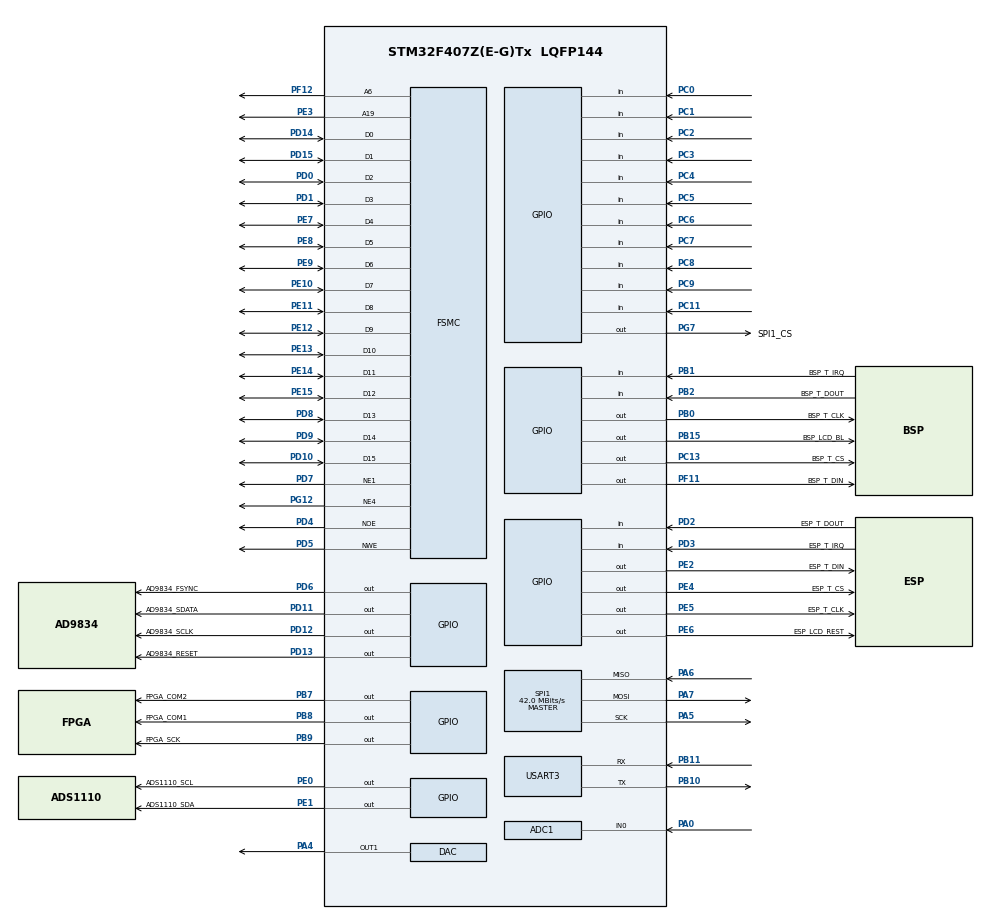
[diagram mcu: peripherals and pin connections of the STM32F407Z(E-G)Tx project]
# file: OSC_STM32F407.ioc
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ADC1.Channel-4\#ChannelRegularConversion=ADC_CHANNEL_0
ADC1.NbrOfConversionFlag=1
ADC1.Rank-4\#ChannelRegularConversion=1
ADC1.SamplingTime-4\#ChannelRegularConversion=ADC_SAMPLETIME_3CYCLES
ADC1.master=1
Dma.Request0=SPI1_RX
Dma.Request1=SPI1_TX
Dma.Request2=USART3_RX
Dma.Request3=USART3_TX
Dma.SPI1_RX.0.Direction=DMA_PERIPH_TO_MEMORY
Dma.SPI1_RX.0.FIFOMode=DMA_FIFOMODE_DISABLE
Dma.SPI1_RX.0.Instance=DMA2_Stream0
Dma.SPI1_RX.0.MemDataAlignment=DMA_MDATAALIGN_BYTE
Dma.SPI1_RX.0.MemInc=DMA_MINC_ENABLE
Dma.SPI1_RX.0.Mode=DMA_NORMAL
Dma.SPI1_RX.0.PeriphDataAlignment=DMA_PDATAALIGN_BYTE
Dma.SPI1_RX.0.PeriphInc=DMA_PINC_DISABLE
Dma.SPI1_RX.0.Priority=DMA_PRIORITY_LOW
Dma.SPI1_TX.1.Direction=DMA_MEMORY_TO_PERIPH
Dma.SPI1_TX.1.FIFOMode=DMA_FIFOMODE_DISABLE
Dma.SPI1_TX.1.Instance=DMA2_Stream3
Dma.SPI1_TX.1.MemDataAlignment=DMA_MDATAALIGN_BYTE
Dma.SPI1_TX.1.MemInc=DMA_MINC_ENABLE
Dma.SPI1_TX.1.Mode=DMA_NORMAL
Dma.SPI1_TX.1.PeriphDataAlignment=DMA_PDATAALIGN_BYTE
Dma.SPI1_TX.1.PeriphInc=DMA_PINC_DISABLE
Dma.SPI1_TX.1.Priority=DMA_PRIORITY_LOW
Dma.USART3_RX.2.Direction=DMA_PERIPH_TO_MEMORY
Dma.USART3_RX.2.FIFOMode=DMA_FIFOMODE_DISABLE
Dma.USART3_RX.2.Instance=DMA1_Stream1
Dma.USART3_RX.2.MemDataAlignment=DMA_MDATAALIGN_BYTE
Dma.USART3_RX.2.MemInc=DMA_MINC_ENABLE
Dma.USART3_RX.2.Mode=DMA_NORMAL
Dma.USART3_RX.2.PeriphDataAlignment=DMA_PDATAALIGN_BYTE
Dma.USART3_RX.2.PeriphInc=DMA_PINC_DISABLE
Dma.USART3_RX.2.Priority=DMA_PRIORITY_LOW
Dma.USART3_TX.3.Direction=DMA_MEMORY_TO_PERIPH
Dma.USART3_TX.3.FIFOMode=DMA_FIFOMODE_DISABLE
Dma.USART3_TX.3.Instance=DMA1_Stream3
Dma.USART3_TX.3.MemDataAlignment=DMA_MDATAALIGN_BYTE
Dma.USART3_TX.3.MemInc=DMA_MINC_ENABLE
Dma.USART3_TX.3.Mode=DMA_NORMAL
Dma.USART3_TX.3.PeriphDataAlignment=DMA_PDATAALIGN_BYTE
Dma.USART3_TX.3.PeriphInc=DMA_PINC_DISABLE
Dma.USART3_TX.3.Priority=DMA_PRIORITY_LOW
FSMC.AddressSetupTime1=15
FSMC.BusTurnAroundDuration1=0
FSMC.DataSetupTime1=80
Mcu.Family=STM32F4
Mcu.Name=STM32F407Z(E-G)Tx
Mcu.Package=LQFP144
NVIC.DMA1_Stream1_IRQn=true\:0\:0\:false\:false\:true
NVIC.DMA1_Stream3_IRQn=true\:0\:0\:false\:false\:true
NVIC.DMA2_Stream0_IRQn=true\:0\:0\:false\:false\:true
NVIC.DMA2_Stream3_IRQn=true\:0\:0\:false\:false\:true
NVIC.PriorityGroup=NVIC_PRIORITYGROUP_4
PA0-WKUP.Signal=ADCx_IN0
PA4.Signal=COMP_DAC1_group
PA5.Mode=Full_Duplex_Master
PA5.Signal=SPI1_SCK
PA6.Mode=Full_Duplex_Master
PA6.Signal=SPI1_MISO
PA7.Mode=Full_Duplex_Master
PA7.Signal=SPI1_MOSI
PB0.GPIO_Label=BSP_T_CLK
PB0.GPIO_Speed=GPIO_SPEED_FREQ_VERY_HIGH
PB0.Signal=GPIO_Output
PB1.GPIO_Label=BSP_T_IRQ
PB1.GPIO_PuPd=GPIO_PULLUP
PB1.Signal=GPIO_Input
PB10.Mode=Asynchronous
PB10.Signal=USART3_TX
PB11.Mode=Asynchronous
PB11.Signal=USART3_RX
PB15.GPIO_Label=BSP_LCD_BL
PB15.GPIO_Speed=GPIO_SPEED_FREQ_VERY_HIGH
PB15.Signal=GPIO_Output
PB2.GPIO_Label=BSP_T_DOUT
PB2.GPIO_PuPd=GPIO_PULLUP
PB2.Signal=GPIO_Input
PB7.GPIO_Label=FPGA_COM2
PB7.GPIO_Speed=GPIO_SPEED_FREQ_VERY_HIGH
PB7.Signal=GPIO_Output
PB8.GPIO_Label=FPGA_COM1
PB8.GPIO_Speed=GPIO_SPEED_FREQ_VERY_HIGH
PB8.Signal=GPIO_Output
PB9.GPIO_Label=FPGA_SCK
PB9.GPIO_Speed=GPIO_SPEED_FREQ_VERY_HIGH
PB9.Signal=GPIO_Output
PC0.Signal=GPIO_Input
PC1.Signal=GPIO_Input
PC11.Signal=GPIO_Input
PC13-ANTI_TAMP.GPIO_Label=BSP_T_CS
PC13-ANTI_TAMP.Signal=GPIO_Output
PC2.Signal=GPIO_Input
PC3.Signal=GPIO_Input
PC4.Signal=GPIO_Input
PC5.Signal=GPIO_Input
PC6.Signal=GPIO_Input
PC7.Signal=GPIO_Input
PC8.Signal=GPIO_Input
PC9.Signal=GPIO_Input
PD0.Signal=FSMC_D2_DA2
PD1.Signal=FSMC_D3_DA3
PD10.Signal=FSMC_D15_DA15
PD11.GPIO_Label=AD9834_SDATA 
PD11.GPIO_Speed=GPIO_SPEED_FREQ_VERY_HIGH
PD11.Signal=GPIO_Output
PD12.GPIO_Label=AD9834_SCLK 
PD12.GPIO_Speed=GPIO_SPEED_FREQ_VERY_HIGH
PD12.Signal=GPIO_Output
PD13.GPIO_Label=AD9834_RESET 
PD13.GPIO_Speed=GPIO_SPEED_FREQ_VERY_HIGH
PD13.Signal=GPIO_Output
PD14.Signal=FSMC_D0_DA0
PD15.Signal=FSMC_D1_DA1
PD2.GPIO_Label=ESP_T_DOUT 
PD2.GPIO_PuPd=GPIO_PULLUP
PD2.Signal=GPIO_Input
PD3.GPIO_Label=ESP_T_IRQ 
PD3.GPIO_PuPd=GPIO_PULLUP
PD3.Signal=GPIO_Input
PD4.Signal=FSMC_NOE
PD5.Signal=FSMC_NWE
PD6.GPIO_Label=AD9834_FSYNC
PD6.GPIO_Speed=GPIO_SPEED_FREQ_VERY_HIGH
PD6.Signal=GPIO_Output
PD7.Mode=NorPsramChipSelect1_1
PD7.Signal=FSMC_NE1
PD8.Signal=FSMC_D13_DA13
PD9.Signal=FSMC_D14_DA14
PE0.GPIO_Label=ADS1110_SCL
PE0.GPIO_ModeDefaultOutputPP=GPIO_MODE_OUTPUT_OD
PE0.GPIO_PuPd=GPIO_NOPULL
PE0.GPIO_Speed=GPIO_SPEED_FREQ_VERY_HIGH
PE0.PinState=GPIO_PIN_SET
PE0.Signal=GPIO_Output
PE1.GPIO_Label=ADS1110_SDA
PE1.GPIO_ModeDefaultOutputPP=GPIO_MODE_OUTPUT_OD
PE1.GPIO_PuPd=GPIO_NOPULL
PE1.GPIO_Speed=GPIO_SPEED_FREQ_VERY_HIGH
PE1.PinState=GPIO_PIN_SET
PE1.Signal=GPIO_Output
PE10.Signal=FSMC_D7_DA7
PE11.Signal=FSMC_D8_DA8
PE12.Signal=FSMC_D9_DA9
PE13.Signal=FSMC_D10_DA10
PE14.Signal=FSMC_D11_DA11
PE15.Signal=FSMC_D12_DA12
PE2.GPIO_Label=ESP_T_DIN 
PE2.GPIO_Speed=GPIO_SPEED_FREQ_VERY_HIGH
PE2.Signal=GPIO_Output
PE3.Signal=FSMC_A19
PE4.GPIO_Label=ESP_T_CS 
PE4.GPIO_Speed=GPIO_SPEED_FREQ_VERY_HIGH
PE4.Signal=GPIO_Output
PE5.GPIO_Label=ESP_T_CLK 
PE5.GPIO_Speed=GPIO_SPEED_FREQ_VERY_HIGH
PE5.Signal=GPIO_Output
PE6.GPIO_Label=ESP_LCD_REST 
PE6.GPIO_Speed=GPIO_SPEED_FREQ_VERY_HIGH
PE6.Signal=GPIO_Output
PE7.Signal=FSMC_D4_DA4
PE8.Signal=FSMC_D5_DA5
PE9.Signal=FSMC_D6_DA6
PF11.GPIO_Label=BSP_T_DIN
PF11.GPIO_Speed=GPIO_SPEED_FREQ_VERY_HIGH
PF11.Signal=GPIO_Output
PF12.Signal=FSMC_A6
PG12.Mode=NorPsramChipSelect4_4
PG12.Signal=FSMC_NE4
PG7.GPIO_Label=SPI1_CS
PG7.GPIO_Speed=GPIO_SPEED_FREQ_VERY_HIGH
PG7.Signal=GPIO_Output
PH0-OSC_IN.Mode=HSE-External-Oscillator
PH0-OSC_IN.Signal=RCC_OSC_IN
PH1-OSC_OUT.Mode=HSE-External-Oscillator
PH1-OSC_OUT.Signal=RCC_OSC_OUT
ProjectManager.HeapSize=0x1000
ProjectManager.StackSize=0x4000
ProjectManager.TargetToolchain=MDK-ARM V5
RCC.48MHZClocksFreq_Value=84000000
RCC.AHBFreq_Value=168000000
RCC.APB1CLKDivider=RCC_HCLK_DIV4
RCC.APB1Freq_Value=42000000
RCC.APB1TimFreq_Value=84000000
RCC.APB2CLKDivider=RCC_HCLK_DIV2
RCC.APB2Freq_Value=84000000
RCC.APB2TimFreq_Value=168000000
RCC.CortexFreq_Value=168000000
RCC.HCLKFreq_Value=168000000
RCC.HSE_VALUE=8000000
RCC.HSI_VALUE=16000000
RCC.LSE_VALUE=32768
RCC.PLLM=8
RCC.PLLN=168
RCC.SYSCLKFreq_VALUE=168000000
RCC.SYSCLKSource=RCC_SYSCLKSOURCE_PLLCLK
RCC.VCOOutputFreq_Value=336000000
SH.ADCx_IN0.0=ADC1_IN0,IN0
SH.COMP_DAC1_group.0=DAC_OUT1,DAC_OUT1
SH.FSMC_A19.0=FSMC_A19,A19_1
SH.FSMC_A6.0=FSMC_A6,A6_4
SH.FSMC_D0_DA0.0=FSMC_D0,16b-d1
SH.FSMC_D0_DA0.1=FSMC_D0,16b-d4
SH.FSMC_D10_DA10.0=FSMC_D10,16b-d1
SH.FSMC_D10_DA10.1=FSMC_D10,16b-d4
SH.FSMC_D11_DA11.0=FSMC_D11,16b-d1
SH.FSMC_D11_DA11.1=FSMC_D11,16b-d4
SH.FSMC_D12_DA12.0=FSMC_D12,16b-d1
SH.FSMC_D12_DA12.1=FSMC_D12,16b-d4
SH.FSMC_D13_DA13.0=FSMC_D13,16b-d1
SH.FSMC_D13_DA13.1=FSMC_D13,16b-d4
SH.FSMC_D14_DA14.0=FSMC_D14,16b-d1
SH.FSMC_D14_DA14.1=FSMC_D14,16b-d4
SH.FSMC_D15_DA15.0=FSMC_D15,16b-d1
SH.FSMC_D15_DA15.1=FSMC_D15,16b-d4
SH.FSMC_D1_DA1.0=FSMC_D1,16b-d1
SH.FSMC_D1_DA1.1=FSMC_D1,16b-d4
SH.FSMC_D2_DA2.0=FSMC_D2,16b-d1
SH.FSMC_D2_DA2.1=FSMC_D2,16b-d4
SH.FSMC_D3_DA3.0=FSMC_D3,16b-d1
SH.FSMC_D3_DA3.1=FSMC_D3,16b-d4
SH.FSMC_D4_DA4.0=FSMC_D4,16b-d1
SH.FSMC_D4_DA4.1=FSMC_D4,16b-d4
SH.FSMC_D5_DA5.0=FSMC_D5,16b-d1
SH.FSMC_D5_DA5.1=FSMC_D5,16b-d4
SH.FSMC_D6_DA6.0=FSMC_D6,16b-d1
SH.FSMC_D6_DA6.1=FSMC_D6,16b-d4
SH.FSMC_D7_DA7.0=FSMC_D7,16b-d1
SH.FSMC_D7_DA7.1=FSMC_D7,16b-d4
SH.FSMC_D8_DA8.0=FSMC_D8,16b-d1
SH.FSMC_D8_DA8.1=FSMC_D8,16b-d4
SH.FSMC_D9_DA9.0=FSMC_D9,16b-d1
SH.FSMC_D9_DA9.1=FSMC_D9,16b-d4
SH.FSMC_NOE.0=FSMC_NOE,Lcd1
SH.FSMC_NOE.1=FSMC_NOE,Lcd4
SH.FSMC_NWE.0=FSMC_NWE,Lcd1
SH.FSMC_NWE.1=FSMC_NWE,Lcd4
SPI1.CalculateBaudRate=42.0 MBits/s
SPI1.Mode=SPI_MODE_MASTER
VP_CRC_VS_CRC.Mode=CRC_Activate
board=OSC_STM32F407

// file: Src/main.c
/**
  ******************************************************************************
  * File Name          : main.c
  * Description        : Main program body
  ******************************************************************************
  *
  * COPYRIGHT(c) 2016 STMicroelectronics
  *
  * Redistribution and use in source and binary forms, with or without modification,
  * are permitted provided that the following conditions are met:
  *   1. Redistributions of source code must retain the above copyright notice,
  *      this list of conditions and the following disclaimer.
  *   2. Redistributions in binary form must reproduce the above copyright notice,
  *      this list of conditions and the following disclaimer in the documentation
  *      and/or other materials provided with the distribution.
  *   3. Neither the name of STMicroelectronics nor the names of its contributors
  *      may be used to endorse or promote products derived from this software
  *      without specific prior written permission.
  *
  * THIS SOFTWARE IS PROVIDED BY THE COPYRIGHT HOLDERS AND CONTRIBUTORS "AS IS"
  * AND ANY EXPRESS OR IMPLIED WARRANTIES, INCLUDING, BUT NOT LIMITED TO, THE
  * IMPLIED WARRANTIES OF MERCHANTABILITY AND FITNESS FOR A PARTICULAR PURPOSE ARE
  * DISCLAIMED. IN NO EVENT SHALL THE COPYRIGHT HOLDER OR CONTRIBUTORS BE LIABLE
  * FOR ANY DIRECT, INDIRECT, INCIDENTAL, SPECIAL, EXEMPLARY, OR CONSEQUENTIAL
  * DAMAGES (INCLUDING, BUT NOT LIMITED TO, PROCUREMENT OF SUBSTITUTE GOODS OR
  * SERVICES; LOSS OF USE, DATA, OR PROFITS; OR BUSINESS INTERRUPTION) HOWEVER
  * CAUSED AND ON ANY THEORY OF LIABILITY, WHETHER IN CONTRACT, STRICT LIABILITY,
  * OR TORT (INCLUDING NEGLIGENCE OR OTHERWISE) ARISING IN ANY WAY OUT OF THE USE
  * OF THIS SOFTWARE, EVEN IF ADVISED OF THE POSSIBILITY OF SUCH DAMAGE.
  *
  ******************************************************************************
  */
#include "stm32f4xx_hal.h"

/* USER CODE BEGIN Includes */
#include "main.h"

/* USER CODE END Includes */

ADC_HandleTypeDef hadc1;

CRC_HandleTypeDef hcrc;

DAC_HandleTypeDef hdac;

SPI_HandleTypeDef hspi1;
DMA_HandleTypeDef hdma_spi1_rx;
DMA_HandleTypeDef hdma_spi1_tx;

UART_HandleTypeDef huart3;
DMA_HandleTypeDef hdma_usart3_rx;
DMA_HandleTypeDef hdma_usart3_tx;

SRAM_HandleTypeDef hsram1;
SRAM_HandleTypeDef hsram4;

/* USER CODE BEGIN PV */

/* Private variables ---------------------------------------------------------*/
UART_TYPE RxBuff[1];
/* Private Struct-------------------------------------------------------*/
WAVE_TYPE WaveArray[TFT_WIDTH ] = {0};//波型数组

FPGAControl_struct g_FPGAPar_A = {500000000};//初始化FPAG器件参数
FPGAControl_struct g_FPGACon_C = {500000000};//初始化FPAG器件参数
FPGAData_struct g_FPGAData = {{0}};
FSM_struct g_FSM = {eFSM_WorkS_Emp, eFSM_WorkS_Emp, eFSM_MainS_Emp, eFSM_MainS_Emp};
OSC_struct g_OSCInfo = {
	eTrg_Mod_Centr,//触发模式
	eSampl_Mod_DMA, //采样模式
	eReslt_rat_0, //时间缩放比例
	1, //幅度缩放比例
	160, //触发点
	65535,//采样数值整型最大值
	0,//采样数值整型最小值
	0,//采样数值浮点型最大值
	0, //采样数值浮点型最小值
	0,//频率
	0,//显示数据从采样数据中的起始
	MEMORYE_DEPTH ,//显示数据从采样数据中的终止
	0, //是否等效采样标识
	eClose,//是否打开测量标识
};
Page_struct g_DispPage = {ePage_Num_1, ePage_Num_2, ePage_Num_2};
GUIControl_struct g_GUICon = {eOpen, eOpen, eClose, eClose, eISEMPTY};
SenseData_struct g_Sense = {0};//传感器数据
DevicePar_struct g_Device = {
	Triangle_Wave ,//波形
	1000000,//频率
	50,//占空比
};
/* Others ---------------------------------------------------------*/
__uIO32 g_DACVal = 0;

/* USER CODE END PV */

void SystemClock_Config (void);
void Error_Handler (void);
static void MX_GPIO_Init (void);
static void MX_DMA_Init (void);
static void MX_FSMC_Init (void);
static void MX_DAC_Init (void);
static void MX_CRC_Init (void);
static void MX_ADC1_Init (void);
static void MX_SPI1_Init (void);
static void MX_USART3_UART_Init (void);

/* USER CODE BEGIN PFP */
/* Private function prototypes -----------------------------------------------*/

/* USER CODE END PFP */

int main (void) {

	/* MCU Configuration----------------------------------------------------------*/

	/* Reset of all peripherals, Initializes the Flash interface and the Systick. */
	HAL_Init();

	/* Configure the system clock */
	SystemClock_Config();

	/* Initialize all configured peripherals */
	MX_GPIO_Init();
	MX_DMA_Init();
	MX_FSMC_Init();
	MX_DAC_Init();
	MX_CRC_Init();
	MX_ADC1_Init();
	MX_SPI1_Init();
	MX_USART3_UART_Init();

	/* USER CODE BEGIN 2 */
	Display_Initial();
	FSM_DeviceInit();
	/* USER CODE END 2 */

	/* Infinite loop */
	while (1) {

		/* USER CODE BEGIN 3 */
		if (g_GUICon.GraphDispState == eOpen) {//停止时不进行任何活动 ，开启时才进入任务
			//FPGA_GetMeasurePar();//请求基础数据

			FPGA_WritePar(10 * g_FPGAData.SignalFreq, 0x0FFF,
			              0x0000, FPGADATALENTGH128, 0, &g_FPGAPar_A);
			//FPGA_ParallDataTrans(g_FPGAData.ADCParMeasureData, AMPLITITUDEDATALENGTH);//采样128个数据，为了计算幅度
			FPGA_AmplitudeCompute(&g_FPGAData);//计算出幅度

			FPGA_WritePar(g_FPGAData.SignalFreq, 0.9 * g_FPGAData.i_Amplitude + g_FPGAData.i_AmplitudeMin,
			              0.1 * g_FPGAData.i_Amplitude + g_FPGAData.i_AmplitudeMin, FPGADATALENTGH2048, 1, &g_FPGACon_C);
			//FPGA_ParallDataTrans(g_FPGAData.ADCUpTimeData, UPTIMEDATALENGTH);//采样2048个数据，为了计算上升时间
			FPGA_UpTimeCompute(&g_FPGAData, &g_FPGACon_C);//计算上升时间

			//FPGA_ParallDataTrans(g_FPGAData.ADCUpTimeData, WAVEDATALENGTH);//采样2048个数据，为了显示波形

			FSM_OSCDisp();//波形显示

			FSM_DeviceOperation();//器件数据更新
		}
		BackgroundUpdata();

	}
	/* USER CODE END 3 */

}

/** System Clock Configuration
*/
void SystemClock_Config (void) {

	RCC_OscInitTypeDef RCC_OscInitStruct;
	RCC_ClkInitTypeDef RCC_ClkInitStruct;

	__HAL_RCC_PWR_CLK_ENABLE();

	__HAL_PWR_VOLTAGESCALING_CONFIG(PWR_REGULATOR_VOLTAGE_SCALE1);

	RCC_OscInitStruct.OscillatorType = RCC_OSCILLATORTYPE_HSI;
	RCC_OscInitStruct.HSIState = RCC_HSI_ON;
	RCC_OscInitStruct.HSICalibrationValue = 16;
	RCC_OscInitStruct.PLL.PLLState = RCC_PLL_ON;
	RCC_OscInitStruct.PLL.PLLSource = RCC_PLLSOURCE_HSI;
	RCC_OscInitStruct.PLL.PLLM = 8;
	RCC_OscInitStruct.PLL.PLLN = 250;
	RCC_OscInitStruct.PLL.PLLP = RCC_PLLP_DIV2;
	RCC_OscInitStruct.PLL.PLLQ = 4;
	if (HAL_RCC_OscConfig(&RCC_OscInitStruct) != HAL_OK) {
		Error_Handler();
	}

	RCC_ClkInitStruct.ClockType = RCC_CLOCKTYPE_HCLK | RCC_CLOCKTYPE_SYSCLK
	                                                   | RCC_CLOCKTYPE_PCLK1 | RCC_CLOCKTYPE_PCLK2;
	RCC_ClkInitStruct.SYSCLKSource = RCC_SYSCLKSOURCE_PLLCLK ;
	RCC_ClkInitStruct.AHBCLKDivider = RCC_SYSCLK_DIV1 ;
	RCC_ClkInitStruct.APB1CLKDivider = RCC_HCLK_DIV4 ;
	RCC_ClkInitStruct.APB2CLKDivider = RCC_HCLK_DIV2 ;
	if (HAL_RCC_ClockConfig(&RCC_ClkInitStruct, FLASH_LATENCY_5) != HAL_OK) {
		Error_Handler();
	}

	HAL_SYSTICK_Config(HAL_RCC_GetHCLKFreq() / 1000);

	HAL_SYSTICK_CLKSourceConfig(SYSTICK_CLKSOURCE_HCLK);

	/* SysTick_IRQn interrupt configuration */
	HAL_NVIC_SetPriority(SysTick_IRQn, 0, 0);
}

/* ADC1 init function */
static void MX_ADC1_Init (void) {

	ADC_ChannelConfTypeDef sConfig;

	/**Configure the global features of the ADC (Clock, Resolution, Data Alignment and number of conversion)
	*/
	hadc1.Instance = ADC1;
	hadc1.Init.ClockPrescaler = ADC_CLOCK_SYNC_PCLK_DIV4;
	hadc1.Init.Resolution = ADC_RESOLUTION_12B;
	hadc1.Init.ScanConvMode = DISABLE;
	hadc1.Init.ContinuousConvMode = DISABLE;
	hadc1.Init.DiscontinuousConvMode = DISABLE;
	hadc1.Init.ExternalTrigConvEdge = ADC_EXTERNALTRIGCONVEDGE_NONE;
	hadc1.Init.DataAlign = ADC_DATAALIGN_RIGHT;
	hadc1.Init.NbrOfConversion = 1;
	hadc1.Init.DMAContinuousRequests = DISABLE;
	hadc1.Init.EOCSelection = ADC_EOC_SINGLE_CONV;
	if (HAL_ADC_Init(&hadc1) != HAL_OK) {
		Error_Handler();
	}

	/**Configure for the selected ADC regular channel its corresponding rank in the sequencer and its sample time.
	*/
	sConfig.Channel = ADC_CHANNEL_0;
	sConfig.Rank = 1;
	sConfig.SamplingTime = ADC_SAMPLETIME_3CYCLES;
	if (HAL_ADC_ConfigChannel(&hadc1, &sConfig) != HAL_OK) {
		Error_Handler();
	}

}

/* CRC init function */
static void MX_CRC_Init (void) {

	hcrc.Instance = CRC;
	if (HAL_CRC_Init(&hcrc) != HAL_OK) {
		Error_Handler();
	}

}

/* DAC init function */
static void MX_DAC_Init (void) {

	DAC_ChannelConfTypeDef sConfig;

	/**DAC Initialization
	*/
	hdac.Instance = DAC;
	if (HAL_DAC_Init(&hdac) != HAL_OK) {
		Error_Handler();
	}

	/**DAC channel OUT1 config
	*/
	sConfig.DAC_Trigger = DAC_TRIGGER_NONE ;
	sConfig.DAC_OutputBuffer = DAC_OUTPUTBUFFER_ENABLE;
	if (HAL_DAC_ConfigChannel(&hdac, &sConfig, DAC_CHANNEL_1) != HAL_OK) {
		Error_Handler();
	}

}

/* SPI1 init function */
static void MX_SPI1_Init (void) {

	hspi1.Instance = SPI1 ;
	hspi1.Init.Mode = SPI_MODE_MASTER;
	hspi1.Init.Direction = SPI_DIRECTION_2LINES;
	hspi1.Init.DataSize = SPI_DATASIZE_8BIT;
	hspi1.Init.CLKPolarity = SPI_POLARITY_LOW;
	hspi1.Init.CLKPhase = SPI_PHASE_1EDGE;
	hspi1.Init.NSS = SPI_NSS_SOFT ;
	hspi1.Init.BaudRatePrescaler = SPI_BAUDRATEPRESCALER_2;
	hspi1.Init.FirstBit = SPI_FIRSTBIT_MSB;
	hspi1.Init.TIMode = SPI_TIMODE_DISABLE;
	hspi1.Init.CRCCalculation = SPI_CRCCALCULATION_DISABLE;
	hspi1.Init.CRCPolynomial = 10;
	if (HAL_SPI_Init(&hspi1) != HAL_OK) {
		Error_Handler();
	}

}

/* USART3 init function */
static void MX_USART3_UART_Init (void) {

	huart3.Instance = USART3;
	huart3.Init.BaudRate = 115200;
	huart3.Init.WordLength = UART_WORDLENGTH_8B;
	huart3.Init.StopBits = UART_STOPBITS_1;
	huart3.Init.Parity = UART_PARITY_NONE;
	huart3.Init.Mode = UART_MODE_TX_RX;
	huart3.Init.HwFlowCtl = UART_HWCONTROL_NONE;
	huart3.Init.OverSampling = UART_OVERSAMPLING_16;
	if (HAL_UART_Init(&huart3) != HAL_OK) {
		Error_Handler();
	}

}

static void MX_DMA_Init (void) {
	/* DMA controller clock enable */
	__HAL_RCC_DMA2_CLK_ENABLE();
	__HAL_RCC_DMA1_CLK_ENABLE();

	/* DMA interrupt init */
	/* DMA1_Stream1_IRQn interrupt configuration */
	HAL_NVIC_SetPriority(DMA1_Stream1_IRQn, 0, 0);
	HAL_NVIC_EnableIRQ(DMA1_Stream1_IRQn);
	/* DMA1_Stream3_IRQn interrupt configuration */
	HAL_NVIC_SetPriority(DMA1_Stream3_IRQn, 0, 0);
	HAL_NVIC_EnableIRQ(DMA1_Stream3_IRQn);
	/* DMA2_Stream0_IRQn interrupt configuration */
	HAL_NVIC_SetPriority(DMA2_Stream0_IRQn, 0, 0);
	HAL_NVIC_EnableIRQ(DMA2_Stream0_IRQn);
	/* DMA2_Stream3_IRQn interrupt configuration */
	HAL_NVIC_SetPriority(DMA2_Stream3_IRQn, 0, 0);
	HAL_NVIC_EnableIRQ(DMA2_Stream3_IRQn);

}

/** Configure pins as
        * Analog
        * Input
        * Output
        * EVENT_OUT
        * EXTI
*/
static void MX_GPIO_Init (void) {

	GPIO_InitTypeDef GPIO_InitStruct;

	/* GPIO Ports Clock Enable */
	__HAL_RCC_GPIOE_CLK_ENABLE();
	__HAL_RCC_GPIOC_CLK_ENABLE();
	__HAL_RCC_GPIOH_CLK_ENABLE();
	__HAL_RCC_GPIOA_CLK_ENABLE();
	__HAL_RCC_GPIOB_CLK_ENABLE();
	__HAL_RCC_GPIOF_CLK_ENABLE();
	__HAL_RCC_GPIOD_CLK_ENABLE();
	__HAL_RCC_GPIOG_CLK_ENABLE();

	/*Configure GPIO pin Output Level */
	HAL_GPIO_WritePin(GPIOE, ESP_T_DIN_Pin | ESP_T_CS_Pin | ESP_T_CLK_Pin | ESP_LCD_REST_Pin, GPIO_PIN_RESET);

	/*Configure GPIO pin Output Level */
	HAL_GPIO_WritePin(BSP_T_CS_GPIO_Port, BSP_T_CS_Pin, GPIO_PIN_RESET);

	/*Configure GPIO pin Output Level */
	HAL_GPIO_WritePin(GPIOB, BSP_T_CLK_Pin | BSP_LCD_BL_Pin | FPGA_COM2_Pin | FPGA_COM1_Pin
	                                         | FPGA_SCK_Pin, GPIO_PIN_RESET);

	/*Configure GPIO pin Output Level */
	HAL_GPIO_WritePin(BSP_T_DIN_GPIO_Port, BSP_T_DIN_Pin, GPIO_PIN_RESET);

	/*Configure GPIO pin Output Level */
	HAL_GPIO_WritePin(GPIOD, AD9834_SDATA_Pin | AD9834_SCLK_Pin | AD9834_RESET_Pin | AD9834_FSYNC_Pin, GPIO_PIN_RESET);

	/*Configure GPIO pin Output Level */
	HAL_GPIO_WritePin(SPI1_CS_GPIO_Port, SPI1_CS_Pin, GPIO_PIN_RESET);

	/*Configure GPIO pin Output Level */
	HAL_GPIO_WritePin(GPIOE, ADS1110_SCL_Pin | ADS1110_SDA_Pin, GPIO_PIN_SET);

	/*Configure GPIO pins : ESP_T_DIN_Pin ESP_T_CS_Pin ESP_T_CLK_Pin ESP_LCD_REST_Pin */
	GPIO_InitStruct.Pin = ESP_T_DIN_Pin | ESP_T_CS_Pin | ESP_T_CLK_Pin | ESP_LCD_REST_Pin ;
	GPIO_InitStruct.Mode = GPIO_MODE_OUTPUT_PP ;
	GPIO_InitStruct.Pull = GPIO_NOPULL ;
	GPIO_InitStruct.Speed = GPIO_SPEED_FREQ_VERY_HIGH ;
	HAL_GPIO_Init(GPIOE, &GPIO_InitStruct);

	/*Configure GPIO pin : BSP_T_CS_Pin */
	GPIO_InitStruct.Pin = BSP_T_CS_Pin ;
	GPIO_InitStruct.Mode = GPIO_MODE_OUTPUT_PP ;
	GPIO_InitStruct.Pull = GPIO_NOPULL ;
	GPIO_InitStruct.Speed = GPIO_SPEED_FREQ_LOW ;
	HAL_GPIO_Init(BSP_T_CS_GPIO_Port, &GPIO_InitStruct);

	/*Configure GPIO pins : PC0 PC1 PC2 PC3
	                         PC4 PC5 PC6 PC7
	                         PC8 PC9 PC11 */
	GPIO_InitStruct.Pin = GPIO_PIN_0 | GPIO_PIN_1 | GPIO_PIN_2 | GPIO_PIN_3
	                                   | GPIO_PIN_4 | GPIO_PIN_5 | GPIO_PIN_6 | GPIO_PIN_7
	                                   | GPIO_PIN_8 | GPIO_PIN_9 | GPIO_PIN_11 ;
	GPIO_InitStruct.Mode = GPIO_MODE_INPUT ;
	GPIO_InitStruct.Pull = GPIO_NOPULL ;
	HAL_GPIO_Init(GPIOC, &GPIO_InitStruct);

	/*Configure GPIO pins : BSP_T_CLK_Pin BSP_LCD_BL_Pin FPGA_COM2_Pin FPGA_COM1_Pin
	                         FPGA_SCK_Pin */
	GPIO_InitStruct.Pin = BSP_T_CLK_Pin | BSP_LCD_BL_Pin | FPGA_COM2_Pin | FPGA_COM1_Pin
	                                      | FPGA_SCK_Pin ;
	GPIO_InitStruct.Mode = GPIO_MODE_OUTPUT_PP ;
	GPIO_InitStruct.Pull = GPIO_NOPULL ;
	GPIO_InitStruct.Speed = GPIO_SPEED_FREQ_VERY_HIGH ;
	HAL_GPIO_Init(GPIOB, &GPIO_InitStruct);

	/*Configure GPIO pins : BSP_T_IRQ_Pin BSP_T_DOUT_Pin */
	GPIO_InitStruct.Pin = BSP_T_IRQ_Pin | BSP_T_DOUT_Pin ;
	GPIO_InitStruct.Mode = GPIO_MODE_INPUT ;
	GPIO_InitStruct.Pull = GPIO_PULLUP ;
	HAL_GPIO_Init(GPIOB, &GPIO_InitStruct);

	/*Configure GPIO pin : BSP_T_DIN_Pin */
	GPIO_InitStruct.Pin = BSP_T_DIN_Pin ;
	GPIO_InitStruct.Mode = GPIO_MODE_OUTPUT_PP ;
	GPIO_InitStruct.Pull = GPIO_NOPULL ;
	GPIO_InitStruct.Speed = GPIO_SPEED_FREQ_VERY_HIGH ;
	HAL_GPIO_Init(BSP_T_DIN_GPIO_Port, &GPIO_InitStruct);

	/*Configure GPIO pins : AD9834_SDATA_Pin AD9834_SCLK_Pin AD9834_RESET_Pin AD9834_FSYNC_Pin */
	GPIO_InitStruct.Pin = AD9834_SDATA_Pin | AD9834_SCLK_Pin | AD9834_RESET_Pin | AD9834_FSYNC_Pin ;
	GPIO_InitStruct.Mode = GPIO_MODE_OUTPUT_PP ;
	GPIO_InitStruct.Pull = GPIO_NOPULL ;
	GPIO_InitStruct.Speed = GPIO_SPEED_FREQ_VERY_HIGH ;
	HAL_GPIO_Init(GPIOD, &GPIO_InitStruct);

	/*Configure GPIO pin : SPI1_CS_Pin */
	GPIO_InitStruct.Pin = SPI1_CS_Pin ;
	GPIO_InitStruct.Mode = GPIO_MODE_OUTPUT_PP ;
	GPIO_InitStruct.Pull = GPIO_NOPULL ;
	GPIO_InitStruct.Speed = GPIO_SPEED_FREQ_VERY_HIGH ;
	HAL_GPIO_Init(SPI1_CS_GPIO_Port, &GPIO_InitStruct);

	/*Configure GPIO pins : ESP_T_DOUT_Pin ESP_T_IRQ_Pin */
	GPIO_InitStruct.Pin = ESP_T_DOUT_Pin | ESP_T_IRQ_Pin ;
	GPIO_InitStruct.Mode = GPIO_MODE_INPUT ;
	GPIO_InitStruct.Pull = GPIO_NOPULL ;
	HAL_GPIO_Init(GPIOD, &GPIO_InitStruct);

	/*Configure GPIO pins : ADS1110_SCL_Pin ADS1110_SDA_Pin */
	GPIO_InitStruct.Pin = ADS1110_SCL_Pin | ADS1110_SDA_Pin ;
	GPIO_InitStruct.Mode = GPIO_MODE_OUTPUT_OD ;
	GPIO_InitStruct.Pull = GPIO_NOPULL ;
	GPIO_InitStruct.Speed = GPIO_SPEED_FREQ_VERY_HIGH ;
	HAL_GPIO_Init(GPIOE, &GPIO_InitStruct);

}

/* FSMC initialization function */
static void MX_FSMC_Init (void) {
	FSMC_NORSRAM_TimingTypeDef Timing;

	/** Perform the SRAM1 memory initialization sequence
	*/
	hsram1.Instance = FSMC_NORSRAM_DEVICE;
	hsram1.Extended = FSMC_NORSRAM_EXTENDED_DEVICE;
	/* hsram1.Init */
	hsram1.Init.NSBank = FSMC_NORSRAM_BANK1;
	hsram1.Init.DataAddressMux = FSMC_DATA_ADDRESS_MUX_DISABLE;
	hsram1.Init.MemoryType = FSMC_MEMORY_TYPE_SRAM;
	hsram1.Init.MemoryDataWidth = FSMC_NORSRAM_MEM_BUS_WIDTH_16;
	hsram1.Init.BurstAccessMode = FSMC_BURST_ACCESS_MODE_DISABLE ;
	hsram1.Init.WaitSignalPolarity = FSMC_WAIT_SIGNAL_POLARITY_LOW;
	hsram1.Init.WrapMode = FSMC_WRAP_MODE_DISABLE;
	hsram1.Init.WaitSignalActive = FSMC_WAIT_TIMING_BEFORE_WS;
	hsram1.Init.WriteOperation = FSMC_WRITE_OPERATION_ENABLE;
	hsram1.Init.WaitSignal = FSMC_WAIT_SIGNAL_DISABLE;
	hsram1.Init.ExtendedMode = FSMC_EXTENDED_MODE_DISABLE;
	hsram1.Init.AsynchronousWait = FSMC_ASYNCHRONOUS_WAIT_DISABLE;
	hsram1.Init.WriteBurst = FSMC_WRITE_BURST_DISABLE;
	hsram1.Init.PageSize = FSMC_PAGE_SIZE_NONE;
	/* Timing */
	Timing.AddressSetupTime = 4;
	Timing.AddressHoldTime = 4;
	Timing.DataSetupTime = 60;
	Timing.BusTurnAroundDuration = 0;
	Timing.CLKDivision = 0;
	Timing.DataLatency = 0;
	Timing.AccessMode = FSMC_ACCESS_MODE_A;
	/* ExtTiming */

	if (HAL_SRAM_Init(&hsram1, &Timing, NULL) != HAL_OK) {
		Error_Handler();
	}

	/** Perform the SRAM4 memory initialization sequence
	*/
	hsram4.Instance = FSMC_NORSRAM_DEVICE;
	hsram4.Extended = FSMC_NORSRAM_EXTENDED_DEVICE;
	/* hsram4.Init */
	hsram4.Init.NSBank = FSMC_NORSRAM_BANK4;
	hsram4.Init.DataAddressMux = FSMC_DATA_ADDRESS_MUX_DISABLE;
	hsram4.Init.MemoryType = FSMC_MEMORY_TYPE_SRAM;
	hsram4.Init.MemoryDataWidth = FSMC_NORSRAM_MEM_BUS_WIDTH_16;
	hsram4.Init.BurstAccessMode = FSMC_BURST_ACCESS_MODE_DISABLE ;
	hsram4.Init.WaitSignalPolarity = FSMC_WAIT_SIGNAL_POLARITY_LOW;
	hsram4.Init.WrapMode = FSMC_WRAP_MODE_DISABLE;
	hsram4.Init.WaitSignalActive = FSMC_WAIT_TIMING_BEFORE_WS;
	hsram4.Init.WriteOperation = FSMC_WRITE_OPERATION_ENABLE;
	hsram4.Init.WaitSignal = FSMC_WAIT_SIGNAL_DISABLE;
	hsram4.Init.ExtendedMode = FSMC_EXTENDED_MODE_DISABLE;
	hsram4.Init.AsynchronousWait = FSMC_ASYNCHRONOUS_WAIT_DISABLE;
	hsram4.Init.WriteBurst = FSMC_WRITE_BURST_DISABLE;
	hsram4.Init.PageSize = FSMC_PAGE_SIZE_NONE;
	/* Timing */
	Timing.AddressSetupTime = 4;
	Timing.AddressHoldTime = 4;
	Timing.DataSetupTime = 60;
	Timing.BusTurnAroundDuration = 0;
	Timing.CLKDivision = 0;
	Timing.DataLatency = 0;
	Timing.AccessMode = FSMC_ACCESS_MODE_A;
	/* ExtTiming */

	if (HAL_SRAM_Init(&hsram4, &Timing, NULL) != HAL_OK) {
		Error_Handler();
	}

}

void Error_Handler (void) {
	while (1) {
	}
}

/************************ (C) COPYRIGHT STMicroelectronics *****END OF FILE****/
